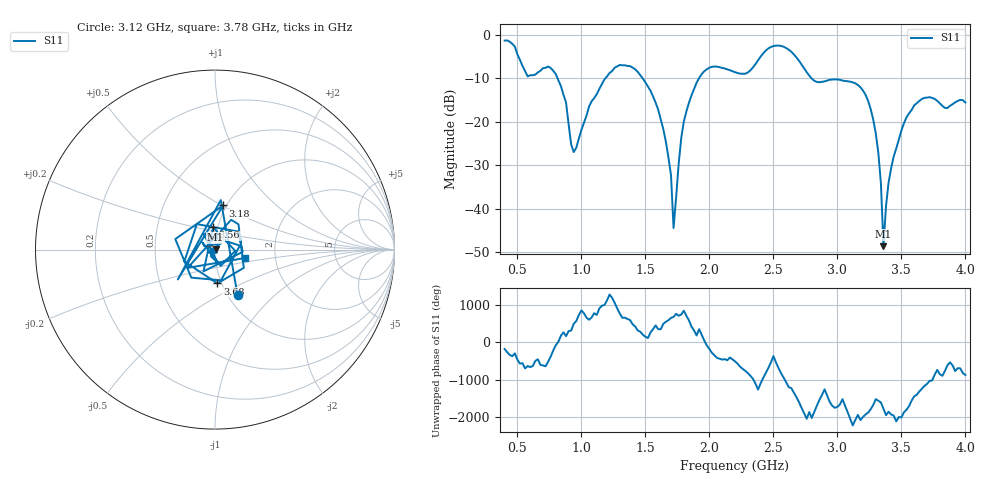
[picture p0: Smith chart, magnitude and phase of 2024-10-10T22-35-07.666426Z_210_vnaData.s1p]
! Created with skrf (http://scikit-rf.org).
# Hz S RI R 50.0
!freq ReS11 ImS11
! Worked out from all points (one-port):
!   181 points, 400 MHz to 4 GHz, reference 50 ohm
!   lowest |S11| = -48.6 dB at 3.36 GHz (marker M1), VSWR 1.01, Z = 50.3 + j0.159 ohm
!   |S11| at or under -10 dB: 813.7 MHz to 1.186 GHz (372.8 MHz wide, 37.3 % of centre); 1.479 GHz to 1.918 GHz (439.1 MHz wide, 25.8 % of centre); 2.798 GHz to end of sweep
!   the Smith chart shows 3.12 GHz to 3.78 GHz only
!   S11 on the Smith chart (normalised r, x): 3.12 GHz: 1.11, -0.62; 3.18 GHz: 0.96, +0.51; 3.56 GHz: 0.95, +0.24; 3.68 GHz: 0.96, -0.37; 3.78 GHz: 1.40, -0.13
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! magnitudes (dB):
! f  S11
! 400 MHz  -1.3
! 580 MHz  -9.5
! 760 MHz  -7.6
! 860 MHz  -13.8
! 940 MHz  -26.9
! 1.08 GHz  -15.3
! 1.3 GHz  -6.9
! 1.6 GHz  -17.2
! 1.7 GHz  -32.3
! 1.72 GHz  -44.4
! 1.76 GHz  -29.6
! 1.8 GHz  -19.9
! 1.92 GHz  -9.9
! 2.2 GHz  -8.6
! 2.5 GHz  -2.6
! 2.66 GHz  -4.5
! 2.82 GHz  -10.6
! 3.1 GHz  -10.8
! 3.12 GHz  -10.9
! 3.18 GHz  -12.0
! 3.3 GHz  -22.7
! 3.34 GHz  -34.2
! 3.36 GHz  -48.6
! 3.42 GHz  -30.6
! 3.56 GHz  -18.0
! 3.68 GHz  -14.5
! 3.78 GHz  -15.2
! 4 GHz  -15.5
